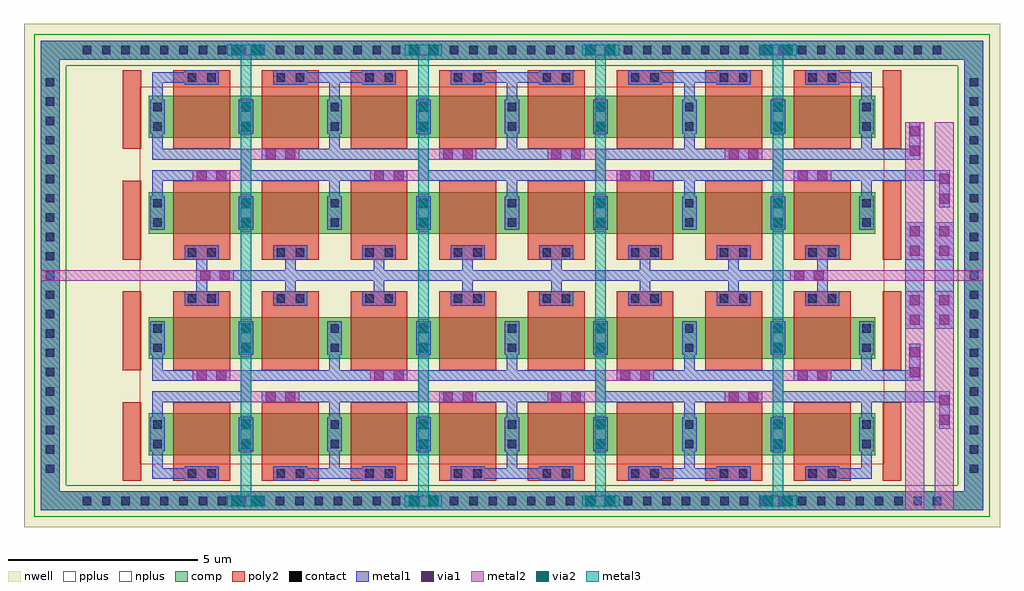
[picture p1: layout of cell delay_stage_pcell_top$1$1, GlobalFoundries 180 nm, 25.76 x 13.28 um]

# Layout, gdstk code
from math import pi, radians
import gdstk
lib = gdstk.Library(unit=1e-6, precision=5e-09)
def R(c, l, rs):  # rectangles x0, y0, x1, y1
    for r in rs: c.add(gdstk.rectangle(r[:2], r[2:], *l))
def A(c, l, x, y, w, h, nx, ny, dx, dy):  # array of equal rectangles
    R(c, l, [(x+i*dx, y+j*dy, x+i*dx+w, y+j*dy+h) for i in range(nx) for j in range(ny)])
nwell = (21, 0)
comp = (22, 0)
poly2 = (30, 0)
pplus = (31, 0)
nplus = (32, 0)
contact = (33, 0)
metal1 = (34, 0)
via1 = (35, 0)
metal2 = (36, 0)
via2 = (38, 0)
metal3 = (42, 0)

m1_m2_3_1_1 = lib.new_cell('M1_M2$3$1$1')
R(m1_m2_3_1_1, via1, [(0.1,0.01,0.36,0.27), (0.62,0.01,0.88,0.27)])
m1_m2_3_1_1.add(gdstk.FlexPath([(0,0.14),(0.98,0.14)], 0.28, ends="flush", simple_path=True, layer=34, datatype=0))  # metal1
m1_m2_3_1_1.add(gdstk.FlexPath([(0,0.14),(0.98,0.14)], 0.28, ends="flush", simple_path=True, layer=36, datatype=0))  # metal2

delay_stage_pcell_1_2_2_ = lib.new_cell('delay_stage_pcell_1$2$2$1$1$1')
R(delay_stage_pcell_1_2_2_, comp, [(0.17,0.3,0.63,1.4), (0.63,0.3,2.51,1.4), (2.51,0.3,2.97,1.4)])
R(delay_stage_pcell_1_2_2_, poly2, [(0.82,0,2.32,1.7)])
R(delay_stage_pcell_1_2_2_, contact, [(0.29,0.485,0.51,0.705), (2.63,0.485,2.85,0.705), (0.29,0.995,0.51,1.215), (2.63,0.995,2.85,1.215)])
R(delay_stage_pcell_1_2_2_, metal1, [(0.21,0.405,0.59,1.295), (2.55,0.405,2.93,1.295)])

delay_stage_pcell_4_2_1_ = lib.new_cell('delay_stage_pcell_4$2$1$1$1')
delay_stage_pcell_4_2_1_.add(gdstk.Reference(delay_stage_pcell_1_2_2_, (-0.17,0)))
delay_stage_pcell_4_2_1_.add(gdstk.Reference(delay_stage_pcell_1_2_2_, (2.17,0)))
delay_stage_pcell_4_2_1_.add(gdstk.Reference(delay_stage_pcell_1_2_2_, (4.51,0)))
delay_stage_pcell_4_2_1_.add(gdstk.Reference(delay_stage_pcell_1_2_2_, (6.85,0)))

delay_stage_pcell_4_4_1_ = lib.new_cell('delay_stage_pcell_4_4$1$1$1')
R(delay_stage_pcell_4_4_1_, poly2, [(0.65,0,2.15,0.38), (0.65,0,2.15,0.38), (2.99,0,4.49,0.38), (2.99,0,4.49,0.38), (5.33,0,6.83,0.38), (5.33,0,6.83,0.38), (7.67,0,9.17,0.38), (7.67,0,9.17,0.38), (0.65,4.62,2.15,5), (0.65,4.62,2.15,5), (2.99,4.62,4.49,5), (2.99,4.62,4.49,5), (5.33,4.62,6.83,5), (5.33,4.62,6.83,5), (7.67,4.62,9.17,5), (7.67,4.62,9.17,5), (0.65,5.84,2.15,6.22), (0.65,5.84,2.15,6.22), (2.99,5.84,4.49,6.22), (2.99,5.84,4.49,6.22), (5.33,5.84,6.83,6.22), (5.33,5.84,6.83,6.22), (7.67,5.84,9.17,6.22), (7.67,5.84,9.17,6.22), (0.65,10.46,2.15,10.84), (0.65,10.46,2.15,10.84), (2.99,10.46,4.49,10.84), (2.99,10.46,4.49,10.84), (5.33,10.46,6.83,10.84), (5.33,10.46,6.83,10.84), (7.67,10.46,9.17,10.84), (7.67,10.46,9.17,10.84)])
R(delay_stage_pcell_4_4_1_, contact, [(1.035,0.08,1.255,0.3), (1.035,0.08,1.255,0.3), (1.545,0.08,1.765,0.3), (1.545,0.08,1.765,0.3), (3.375,0.08,3.595,0.3), (3.375,0.08,3.595,0.3), (3.885,0.08,4.105,0.3), (3.885,0.08,4.105,0.3), (5.715,0.08,5.935,0.3), (5.715,0.08,5.935,0.3), (6.225,0.08,6.445,0.3), (6.225,0.08,6.445,0.3), (8.055,0.08,8.275,0.3), (8.055,0.08,8.275,0.3), (8.565,0.08,8.785,0.3), (8.565,0.08,8.785,0.3), (1.035,4.7,1.255,4.92), (1.035,4.7,1.255,4.92), (1.545,4.7,1.765,4.92), (1.545,4.7,1.765,4.92), (3.375,4.7,3.595,4.92), (3.375,4.7,3.595,4.92), (3.885,4.7,4.105,4.92), (3.885,4.7,4.105,4.92), (5.715,4.7,5.935,4.92), (5.715,4.7,5.935,4.92), (6.225,4.7,6.445,4.92), (6.225,4.7,6.445,4.92), (8.055,4.7,8.275,4.92), (8.055,4.7,8.275,4.92), (8.565,4.7,8.785,4.92), (8.565,4.7,8.785,4.92), (1.035,5.92,1.255,6.14), (1.035,5.92,1.255,6.14), (1.545,5.92,1.765,6.14), (1.545,5.92,1.765,6.14), (3.375,5.92,3.595,6.14), (3.375,5.92,3.595,6.14), (3.885,5.92,4.105,6.14), (3.885,5.92,4.105,6.14), (5.715,5.92,5.935,6.14), (5.715,5.92,5.935,6.14), (6.225,5.92,6.445,6.14), (6.225,5.92,6.445,6.14), (8.055,5.92,8.275,6.14), (8.055,5.92,8.275,6.14), (8.565,5.92,8.785,6.14), (8.565,5.92,8.785,6.14), (1.035,10.54,1.255,10.76), (1.035,10.54,1.255,10.76), (1.545,10.54,1.765,10.76), (1.545,10.54,1.765,10.76), (3.375,10.54,3.595,10.76), (3.375,10.54,3.595,10.76), (3.885,10.54,4.105,10.76), (3.885,10.54,4.105,10.76), (5.715,10.54,5.935,10.76), (5.715,10.54,5.935,10.76), (6.225,10.54,6.445,10.76), (6.225,10.54,6.445,10.76), (8.055,10.54,8.275,10.76), (8.055,10.54,8.275,10.76), (8.565,10.54,8.785,10.76), (8.565,10.54,8.785,10.76)])
R(delay_stage_pcell_4_4_1_, metal1, [(0.955,0,1.845,0.38), (3.295,0,4.185,0.38), (3.295,0,4.185,0.38), (5.635,0,6.525,0.38), (5.635,0,6.525,0.38), (7.975,0,8.865,0.38), (0.955,4.62,1.845,5), (0.955,4.62,1.845,5), (3.295,4.62,4.185,5), (3.295,4.62,4.185,5), (5.635,4.62,6.525,5), (5.635,4.62,6.525,5), (7.975,4.62,8.865,5), (0.955,5.84,1.845,6.22), (0.955,5.84,1.845,6.22), (3.295,5.84,4.185,6.22), (3.295,5.84,4.185,6.22), (5.635,5.84,6.525,6.22), (5.635,5.84,6.525,6.22), (7.975,5.84,8.865,6.22), (7.975,5.84,8.865,6.22), (0.955,10.46,1.845,10.84), (3.295,10.46,4.185,10.84), (3.295,10.46,4.185,10.84), (5.635,10.46,6.525,10.84), (5.635,10.46,6.525,10.84), (7.975,10.46,8.865,10.84)])
R(delay_stage_pcell_4_4_1_, via1, [(2.44,0.84,2.7,1.1), (7.12,0.84,7.38,1.1), (2.44,1.36,2.7,1.62), (7.12,1.36,7.38,1.62), (1.27,2.09,1.53,2.35), (1.27,2.09,1.53,2.35), (1.79,2.09,2.05,2.35), (1.79,2.09,2.05,2.35), (5.95,2.09,6.21,2.35), (5.95,2.09,6.21,2.35), (6.47,2.09,6.73,2.35), (6.47,2.09,6.73,2.35), (3.09,2.65,3.35,2.91), (3.09,2.65,3.35,2.91), (3.61,2.65,3.87,2.91), (3.61,2.65,3.87,2.91), (7.77,2.65,8.03,2.91), (7.77,2.65,8.03,2.91), (8.29,2.65,8.55,2.91), (8.29,2.65,8.55,2.91), (2.44,3.38,2.7,3.64), (7.12,3.38,7.38,3.64), (2.44,3.9,2.7,4.16), (7.12,3.9,7.38,4.16), (2.44,6.68,2.7,6.94), (7.12,6.68,7.38,6.94), (2.44,7.2,2.7,7.46), (7.12,7.2,7.38,7.46), (3.09,7.93,3.35,8.19), (3.09,7.93,3.35,8.19), (3.61,7.93,3.87,8.19), (3.61,7.93,3.87,8.19), (7.77,7.93,8.03,8.19), (7.77,7.93,8.03,8.19), (8.29,7.93,8.55,8.19), (8.29,7.93,8.55,8.19), (1.27,8.49,1.53,8.75), (1.27,8.49,1.53,8.75), (1.79,8.49,2.05,8.75), (1.79,8.49,2.05,8.75), (5.95,8.49,6.21,8.75), (5.95,8.49,6.21,8.75), (6.47,8.49,6.73,8.75), (6.47,8.49,6.73,8.75), (2.44,9.22,2.7,9.48), (7.12,9.22,7.38,9.48), (2.44,9.74,2.7,10), (7.12,9.74,7.38,10)])
R(delay_stage_pcell_4_4_1_, via2, [(2.44,0.84,2.7,1.1), (7.12,0.84,7.38,1.1), (2.44,1.36,2.7,1.62), (7.12,1.36,7.38,1.62), (2.44,3.38,2.7,3.64), (7.12,3.38,7.38,3.64), (2.44,3.9,2.7,4.16), (7.12,3.9,7.38,4.16), (2.44,6.68,2.7,6.94), (7.12,6.68,7.38,6.94), (2.44,7.2,2.7,7.46), (7.12,7.2,7.38,7.46), (2.44,9.22,2.7,9.48), (7.12,9.22,7.38,9.48), (2.44,9.74,2.7,10), (7.12,9.74,7.38,10)])
delay_stage_pcell_4_4_1_.add(gdstk.FlexPath([(8.56,5.42),(0.23,5.42)], 0.28, ends="flush", simple_path=True, layer=34, datatype=0))  # metal1
delay_stage_pcell_4_4_1_.add(gdstk.FlexPath([(4.185,10.65),(5.635,10.65)], 0.28, ends="flush", simple_path=True, layer=34, datatype=0))  # metal1
delay_stage_pcell_4_4_1_.add(gdstk.FlexPath([(4.91,10.055),(4.91,10.51)], 0.28, ends="flush", simple_path=True, layer=34, datatype=0))  # metal1
delay_stage_pcell_4_4_1_.add(gdstk.FlexPath([(0.955,10.65),(0.23,10.65),(0.23,10.055)], 0.28, ends="flush", simple_path=True, layer=34, datatype=0))  # metal1
delay_stage_pcell_4_4_1_.add(gdstk.FlexPath([(8.865,10.65),(9.59,10.65),(9.59,10.055)], 0.28, ends="flush", simple_path=True, layer=34, datatype=0))  # metal1
delay_stage_pcell_4_4_1_.add(gdstk.FlexPath([(4.185,0.19),(5.635,0.19)], 0.28, ends="flush", simple_path=True, layer=34, datatype=0))  # metal1
delay_stage_pcell_4_4_1_.add(gdstk.FlexPath([(4.91,0.785),(4.91,0.33)], 0.28, ends="flush", simple_path=True, layer=34, datatype=0))  # metal1
delay_stage_pcell_4_4_1_.add(gdstk.FlexPath([(0.955,0.19),(0.23,0.19),(0.23,0.785)], 0.28, ends="flush", simple_path=True, layer=34, datatype=0))  # metal1
delay_stage_pcell_4_4_1_.add(gdstk.FlexPath([(8.865,0.19),(9.59,0.19),(9.59,0.785)], 0.28, ends="flush", simple_path=True, layer=34, datatype=0))  # metal1
delay_stage_pcell_4_4_1_.add(gdstk.FlexPath([(9.59,1.675),(9.59,2.22),(8.65,2.22)], 0.28, ends="flush", simple_path=True, layer=34, datatype=0))  # metal1
delay_stage_pcell_4_4_1_.add(gdstk.FlexPath([(9.59,1.675),(9.59,2.22),(8.65,2.22)], 0.28, ends="flush", simple_path=True, layer=34, datatype=0))  # metal1
delay_stage_pcell_4_4_1_.add(gdstk.FlexPath([(4.91,1.675),(4.91,2.08)], 0.28, ends="flush", simple_path=True, layer=34, datatype=0))  # metal1
delay_stage_pcell_4_4_1_.add(gdstk.FlexPath([(4.91,1.675),(4.91,2.08)], 0.28, ends="flush", simple_path=True, layer=34, datatype=0))  # metal1
delay_stage_pcell_4_4_1_.add(gdstk.FlexPath([(0.23,1.675),(0.23,2.22),(1.17,2.22)], 0.28, ends="flush", simple_path=True, layer=34, datatype=0))  # metal1
delay_stage_pcell_4_4_1_.add(gdstk.FlexPath([(0.23,1.675),(0.23,2.22),(1.17,2.22)], 0.28, ends="flush", simple_path=True, layer=34, datatype=0))  # metal1
delay_stage_pcell_4_4_1_.add(gdstk.FlexPath([(8.65,2.22),(7.25,2.22),(7.25,2.78),(5.85,2.78)], 0.28, ends="flush", simple_path=True, layer=34, datatype=0))  # metal1
delay_stage_pcell_4_4_1_.add(gdstk.FlexPath([(8.65,2.22),(7.25,2.22),(7.25,2.78),(5.85,2.78)], 0.28, ends="flush", simple_path=True, layer=34, datatype=0))  # metal1
delay_stage_pcell_4_4_1_.add(gdstk.FlexPath([(6.83,2.22),(5.85,2.22)], 0.28, ends="flush", simple_path=True, layer=34, datatype=0))  # metal1
delay_stage_pcell_4_4_1_.add(gdstk.FlexPath([(6.83,2.22),(5.85,2.22)], 0.28, ends="flush", simple_path=True, layer=34, datatype=0))  # metal1
delay_stage_pcell_4_4_1_.add(gdstk.FlexPath([(3.97,2.22),(5.85,2.22)], 0.28, ends="flush", simple_path=True, layer=34, datatype=0))  # metal1
delay_stage_pcell_4_4_1_.add(gdstk.FlexPath([(3.97,2.22),(5.85,2.22)], 0.28, ends="flush", simple_path=True, layer=34, datatype=0))  # metal1
delay_stage_pcell_4_4_1_.add(gdstk.FlexPath([(3.97,2.22),(2.57,2.22),(2.57,2.78),(1.17,2.78)], 0.28, ends="flush", simple_path=True, layer=34, datatype=0))  # metal1
delay_stage_pcell_4_4_1_.add(gdstk.FlexPath([(3.97,2.22),(2.57,2.22),(2.57,2.78),(1.17,2.78)], 0.28, ends="flush", simple_path=True, layer=34, datatype=0))  # metal1
delay_stage_pcell_4_4_1_.add(gdstk.FlexPath([(2.15,2.22),(1.17,2.22)], 0.28, ends="flush", simple_path=True, layer=34, datatype=0))  # metal1
delay_stage_pcell_4_4_1_.add(gdstk.FlexPath([(2.15,2.22),(1.17,2.22)], 0.28, ends="flush", simple_path=True, layer=34, datatype=0))  # metal1
delay_stage_pcell_4_4_1_.add(gdstk.FlexPath([(8.65,2.78),(7.67,2.78)], 0.28, ends="flush", simple_path=True, layer=34, datatype=0))  # metal1
delay_stage_pcell_4_4_1_.add(gdstk.FlexPath([(8.65,2.78),(7.67,2.78)], 0.28, ends="flush", simple_path=True, layer=34, datatype=0))  # metal1
delay_stage_pcell_4_4_1_.add(gdstk.FlexPath([(3.97,2.78),(5.85,2.78)], 0.28, ends="flush", simple_path=True, layer=34, datatype=0))  # metal1
delay_stage_pcell_4_4_1_.add(gdstk.FlexPath([(3.97,2.78),(5.85,2.78)], 0.28, ends="flush", simple_path=True, layer=34, datatype=0))  # metal1
delay_stage_pcell_4_4_1_.add(gdstk.FlexPath([(3.97,2.78),(2.99,2.78)], 0.28, ends="flush", simple_path=True, layer=34, datatype=0))  # metal1
delay_stage_pcell_4_4_1_.add(gdstk.FlexPath([(3.97,2.78),(2.99,2.78)], 0.28, ends="flush", simple_path=True, layer=34, datatype=0))  # metal1
delay_stage_pcell_4_4_1_.add(gdstk.FlexPath([(1.17,2.78),(0.23,2.78),(0.23,3.325)], 0.28, ends="flush", simple_path=True, layer=34, datatype=0))  # metal1
delay_stage_pcell_4_4_1_.add(gdstk.FlexPath([(1.17,2.78),(0.23,2.78),(0.23,3.325)], 0.28, ends="flush", simple_path=True, layer=34, datatype=0))  # metal1
delay_stage_pcell_4_4_1_.add(gdstk.FlexPath([(9.59,3.325),(9.59,2.78),(8.65,2.78)], 0.28, ends="flush", simple_path=True, layer=34, datatype=0))  # metal1
delay_stage_pcell_4_4_1_.add(gdstk.FlexPath([(9.59,3.325),(9.59,2.78),(8.65,2.78)], 0.28, ends="flush", simple_path=True, layer=34, datatype=0))  # metal1
delay_stage_pcell_4_4_1_.add(gdstk.FlexPath([(4.91,3.325),(4.91,2.92)], 0.28, ends="flush", simple_path=True, layer=34, datatype=0))  # metal1
delay_stage_pcell_4_4_1_.add(gdstk.FlexPath([(4.91,3.325),(4.91,2.92)], 0.28, ends="flush", simple_path=True, layer=34, datatype=0))  # metal1
delay_stage_pcell_4_4_1_.add(gdstk.FlexPath([(9.59,7.515),(9.59,8.06),(8.65,8.06)], 0.28, ends="flush", simple_path=True, layer=34, datatype=0))  # metal1
delay_stage_pcell_4_4_1_.add(gdstk.FlexPath([(9.59,9.165),(9.59,8.62),(8.65,8.62)], 0.28, ends="flush", simple_path=True, layer=34, datatype=0))  # metal1
delay_stage_pcell_4_4_1_.add(gdstk.FlexPath([(4.91,9.165),(4.91,8.76)], 0.28, ends="flush", simple_path=True, layer=34, datatype=0))  # metal1
delay_stage_pcell_4_4_1_.add(gdstk.FlexPath([(4.91,7.515),(4.91,7.92)], 0.28, ends="flush", simple_path=True, layer=34, datatype=0))  # metal1
delay_stage_pcell_4_4_1_.add(gdstk.FlexPath([(1.17,8.06),(0.23,8.06),(0.23,7.515)], 0.28, ends="flush", simple_path=True, layer=34, datatype=0))  # metal1
delay_stage_pcell_4_4_1_.add(gdstk.FlexPath([(0.23,9.165),(0.23,8.62),(1.17,8.62)], 0.28, ends="flush", simple_path=True, layer=34, datatype=0))  # metal1
delay_stage_pcell_4_4_1_.add(gdstk.FlexPath([(8.65,8.62),(7.25,8.62),(7.25,8.06),(5.85,8.06)], 0.28, ends="flush", simple_path=True, layer=34, datatype=0))  # metal1
delay_stage_pcell_4_4_1_.add(gdstk.FlexPath([(3.97,8.62),(2.57,8.62),(2.57,8.06),(1.17,8.06)], 0.28, ends="flush", simple_path=True, layer=34, datatype=0))  # metal1
delay_stage_pcell_4_4_1_.add(gdstk.FlexPath([(2.15,8.62),(1.17,8.62)], 0.28, ends="flush", simple_path=True, layer=34, datatype=0))  # metal1
delay_stage_pcell_4_4_1_.add(gdstk.FlexPath([(3.97,8.06),(2.99,8.06)], 0.28, ends="flush", simple_path=True, layer=34, datatype=0))  # metal1
delay_stage_pcell_4_4_1_.add(gdstk.FlexPath([(8.65,8.06),(7.67,8.06)], 0.28, ends="flush", simple_path=True, layer=34, datatype=0))  # metal1
delay_stage_pcell_4_4_1_.add(gdstk.FlexPath([(6.83,8.62),(5.85,8.62)], 0.28, ends="flush", simple_path=True, layer=34, datatype=0))  # metal1
delay_stage_pcell_4_4_1_.add(gdstk.FlexPath([(3.97,8.62),(5.85,8.62)], 0.28, ends="flush", simple_path=True, layer=34, datatype=0))  # metal1
delay_stage_pcell_4_4_1_.add(gdstk.FlexPath([(3.97,8.06),(5.85,8.06)], 0.28, ends="flush", simple_path=True, layer=34, datatype=0))  # metal1
delay_stage_pcell_4_4_1_.add(gdstk.FlexPath([(3.97,8.06),(5.85,8.06)], 0.28, ends="flush", simple_path=True, layer=34, datatype=0))  # metal1
delay_stage_pcell_4_4_1_.add(gdstk.FlexPath([(3.97,8.62),(5.85,8.62)], 0.28, ends="flush", simple_path=True, layer=34, datatype=0))  # metal1
delay_stage_pcell_4_4_1_.add(gdstk.FlexPath([(6.83,8.62),(5.85,8.62)], 0.28, ends="flush", simple_path=True, layer=34, datatype=0))  # metal1
delay_stage_pcell_4_4_1_.add(gdstk.FlexPath([(8.65,8.06),(7.67,8.06)], 0.28, ends="flush", simple_path=True, layer=34, datatype=0))  # metal1
delay_stage_pcell_4_4_1_.add(gdstk.FlexPath([(3.97,8.06),(2.99,8.06)], 0.28, ends="flush", simple_path=True, layer=34, datatype=0))  # metal1
delay_stage_pcell_4_4_1_.add(gdstk.FlexPath([(2.15,8.62),(1.17,8.62)], 0.28, ends="flush", simple_path=True, layer=34, datatype=0))  # metal1
delay_stage_pcell_4_4_1_.add(gdstk.FlexPath([(3.97,8.62),(2.57,8.62),(2.57,8.06),(1.17,8.06)], 0.28, ends="flush", simple_path=True, layer=34, datatype=0))  # metal1
delay_stage_pcell_4_4_1_.add(gdstk.FlexPath([(8.65,8.62),(7.25,8.62),(7.25,8.06),(5.85,8.06)], 0.28, ends="flush", simple_path=True, layer=34, datatype=0))  # metal1
delay_stage_pcell_4_4_1_.add(gdstk.FlexPath([(0.23,9.165),(0.23,8.62),(1.17,8.62)], 0.28, ends="flush", simple_path=True, layer=34, datatype=0))  # metal1
delay_stage_pcell_4_4_1_.add(gdstk.FlexPath([(1.17,8.06),(0.23,8.06),(0.23,7.515)], 0.28, ends="flush", simple_path=True, layer=34, datatype=0))  # metal1
delay_stage_pcell_4_4_1_.add(gdstk.FlexPath([(4.91,7.515),(4.91,7.92)], 0.28, ends="flush", simple_path=True, layer=34, datatype=0))  # metal1
delay_stage_pcell_4_4_1_.add(gdstk.FlexPath([(4.91,9.165),(4.91,8.76)], 0.28, ends="flush", simple_path=True, layer=34, datatype=0))  # metal1
delay_stage_pcell_4_4_1_.add(gdstk.FlexPath([(9.59,9.165),(9.59,8.62),(8.65,8.62)], 0.28, ends="flush", simple_path=True, layer=34, datatype=0))  # metal1
delay_stage_pcell_4_4_1_.add(gdstk.FlexPath([(9.59,7.515),(9.59,8.06),(8.65,8.06)], 0.28, ends="flush", simple_path=True, layer=34, datatype=0))  # metal1
delay_stage_pcell_4_4_1_.add(gdstk.FlexPath([(8.42,5),(8.42,5.28)], 0.28, ends="flush", simple_path=True, layer=34, datatype=0))  # metal1
delay_stage_pcell_4_4_1_.add(gdstk.FlexPath([(8.42,5.84),(8.42,5.56)], 0.28, ends="flush", simple_path=True, layer=34, datatype=0))  # metal1
delay_stage_pcell_4_4_1_.add(gdstk.FlexPath([(6.08,5),(6.08,5.28)], 0.28, ends="flush", simple_path=True, layer=34, datatype=0))  # metal1
delay_stage_pcell_4_4_1_.add(gdstk.FlexPath([(6.08,5.84),(6.08,5.56)], 0.28, ends="flush", simple_path=True, layer=34, datatype=0))  # metal1
delay_stage_pcell_4_4_1_.add(gdstk.FlexPath([(3.74,5),(3.74,5.28)], 0.28, ends="flush", simple_path=True, layer=34, datatype=0))  # metal1
delay_stage_pcell_4_4_1_.add(gdstk.FlexPath([(3.74,5.84),(3.74,5.56)], 0.28, ends="flush", simple_path=True, layer=34, datatype=0))  # metal1
delay_stage_pcell_4_4_1_.add(gdstk.FlexPath([(1.4,5),(1.4,5.28)], 0.28, ends="flush", simple_path=True, layer=34, datatype=0))  # metal1
delay_stage_pcell_4_4_1_.add(gdstk.FlexPath([(1.4,5.84),(1.4,5.56)], 0.28, ends="flush", simple_path=True, layer=34, datatype=0))  # metal1
delay_stage_pcell_4_4_1_.add(gdstk.FlexPath([(8.65,2.78),(7.25,2.78),(7.25,2.22),(5.85,2.22)], 0.28, ends="flush", simple_path=True, layer=36, datatype=0))  # metal2
delay_stage_pcell_4_4_1_.add(gdstk.FlexPath([(8.65,2.78),(7.25,2.78),(7.25,2.22),(5.85,2.22)], 0.28, ends="flush", simple_path=True, layer=36, datatype=0))  # metal2
delay_stage_pcell_4_4_1_.add(gdstk.FlexPath([(3.97,2.78),(2.57,2.78),(2.57,2.22),(1.17,2.22)], 0.28, ends="flush", simple_path=True, layer=36, datatype=0))  # metal2
delay_stage_pcell_4_4_1_.add(gdstk.FlexPath([(3.97,2.78),(2.57,2.78),(2.57,2.22),(1.17,2.22)], 0.28, ends="flush", simple_path=True, layer=36, datatype=0))  # metal2
delay_stage_pcell_4_4_1_.add(gdstk.FlexPath([(3.97,8.06),(2.57,8.06),(2.57,8.62),(1.17,8.62)], 0.28, ends="flush", simple_path=True, layer=36, datatype=0))  # metal2
delay_stage_pcell_4_4_1_.add(gdstk.FlexPath([(8.65,8.06),(7.25,8.06),(7.25,8.62),(5.85,8.62)], 0.28, ends="flush", simple_path=True, layer=36, datatype=0))  # metal2
delay_stage_pcell_4_4_1_.add(gdstk.FlexPath([(8.65,8.06),(7.25,8.06),(7.25,8.62),(5.85,8.62)], 0.28, ends="flush", simple_path=True, layer=36, datatype=0))  # metal2
delay_stage_pcell_4_4_1_.add(gdstk.FlexPath([(3.97,8.06),(2.57,8.06),(2.57,8.62),(1.17,8.62)], 0.28, ends="flush", simple_path=True, layer=36, datatype=0))  # metal2
delay_stage_pcell_4_4_1_.add(gdstk.FlexPath([(7.25,6.58),(7.25,7.56)], 0.28, ends="flush", simple_path=True, layer=36, datatype=0))  # metal2
delay_stage_pcell_4_4_1_.add(gdstk.FlexPath([(7.25,9.12),(7.25,10.1)], 0.28, ends="flush", simple_path=True, layer=36, datatype=0))  # metal2
delay_stage_pcell_4_4_1_.add(gdstk.FlexPath([(2.57,6.58),(2.57,7.56)], 0.28, ends="flush", simple_path=True, layer=36, datatype=0))  # metal2
delay_stage_pcell_4_4_1_.add(gdstk.FlexPath([(7.25,3.28),(7.25,4.26)], 0.28, ends="flush", simple_path=True, layer=36, datatype=0))  # metal2
delay_stage_pcell_4_4_1_.add(gdstk.FlexPath([(2.57,3.28),(2.57,4.26)], 0.28, ends="flush", simple_path=True, layer=36, datatype=0))  # metal2
delay_stage_pcell_4_4_1_.add(gdstk.FlexPath([(7.25,0.74),(7.25,1.72)], 0.28, ends="flush", simple_path=True, layer=36, datatype=0))  # metal2
delay_stage_pcell_4_4_1_.add(gdstk.FlexPath([(2.57,0.74),(2.57,1.72)], 0.28, ends="flush", simple_path=True, layer=36, datatype=0))  # metal2
delay_stage_pcell_4_4_1_.add(gdstk.FlexPath([(2.57,9.12),(2.57,10.1)], 0.28, ends="flush", simple_path=True, layer=36, datatype=0))  # metal2
delay_stage_pcell_4_4_1_.add(gdstk.FlexPath([(7.25,6.58),(7.25,7.56)], 0.28, ends="flush", simple_path=True, layer=42, datatype=0))  # metal3
delay_stage_pcell_4_4_1_.add(gdstk.FlexPath([(7.25,9.12),(7.25,10.1)], 0.28, ends="flush", simple_path=True, layer=42, datatype=0))  # metal3
delay_stage_pcell_4_4_1_.add(gdstk.FlexPath([(2.57,6.58),(2.57,7.56)], 0.28, ends="flush", simple_path=True, layer=42, datatype=0))  # metal3
delay_stage_pcell_4_4_1_.add(gdstk.FlexPath([(7.25,3.28),(7.25,4.26)], 0.28, ends="flush", simple_path=True, layer=42, datatype=0))  # metal3
delay_stage_pcell_4_4_1_.add(gdstk.FlexPath([(2.57,3.28),(2.57,4.26)], 0.28, ends="flush", simple_path=True, layer=42, datatype=0))  # metal3
delay_stage_pcell_4_4_1_.add(gdstk.FlexPath([(7.25,0.74),(7.25,1.72)], 0.28, ends="flush", simple_path=True, layer=42, datatype=0))  # metal3
delay_stage_pcell_4_4_1_.add(gdstk.FlexPath([(2.57,0.74),(2.57,1.72)], 0.28, ends="flush", simple_path=True, layer=42, datatype=0))  # metal3
delay_stage_pcell_4_4_1_.add(gdstk.FlexPath([(2.57,9.12),(2.57,10.1)], 0.28, ends="flush", simple_path=True, layer=42, datatype=0))  # metal3
delay_stage_pcell_4_4_1_.add(gdstk.Reference(delay_stage_pcell_4_2_1_, (9.82,7.92), rotation=pi))
delay_stage_pcell_4_4_1_.add(gdstk.Reference(delay_stage_pcell_4_2_1_, (9.82,2.08), rotation=pi))
delay_stage_pcell_4_4_1_.add(gdstk.Reference(delay_stage_pcell_4_2_1_, (9.82,8.76), rotation=pi, x_reflection=True))
delay_stage_pcell_4_4_1_.add(gdstk.Reference(delay_stage_pcell_4_2_1_, (9.82,2.92), rotation=pi, x_reflection=True))

delay_stage_pcell_top_1_ = lib.new_cell('delay_stage_pcell_top$1$1')
R(delay_stage_pcell_top_1_, nwell, [(0,0,25.76,13.28)])
A(delay_stage_pcell_top_1_, poly2, 2.6, 1.22, 0.5, 2.08, 1, 4, 0, 2.92)
A(delay_stage_pcell_top_1_, poly2, 22.66, 1.22, 0.5, 2.08, 1, 4, 0, 2.92)
R(delay_stage_pcell_top_1_, pplus, [(3.05,1.66,22.71,11.62)])
A(delay_stage_pcell_top_1_, contact, 1.55, 0.58, 0.22, 0.22, 45, 2, 0.51, 11.9)
A(delay_stage_pcell_top_1_, contact, 0.58, 1.43, 0.22, 0.22, 1, 21, 0, 0.51)
A(delay_stage_pcell_top_1_, contact, 24.96, 1.43, 0.22, 0.22, 1, 21, 0, 0.51)
R(delay_stage_pcell_top_1_, via1, [(5.47,0.56,5.73,0.82), (5.99,0.56,6.25,0.82), (10.15,0.56,10.41,0.82), (10.67,0.56,10.93,0.82), (14.83,0.56,15.09,0.82), (15.35,0.56,15.61,0.82), (19.51,0.56,19.77,0.82), (20.03,0.56,20.29,0.82), (24.16,2.7,24.42,2.96), (24.16,2.7,24.42,2.96), (24.16,3.22,24.42,3.48), (24.16,3.22,24.42,3.48), (23.38,3.96,23.64,4.22), (23.38,3.96,23.64,4.22), (23.38,4.48,23.64,4.74), (23.38,4.48,23.64,4.74), (23.38,5.34,23.64,5.6), (23.38,5.34,23.64,5.6), (24.16,5.34,24.42,5.6), (24.16,5.34,24.42,5.6), (23.38,5.86,23.64,6.12), (23.38,5.86,23.64,6.12), (24.16,5.86,24.42,6.12), (24.16,5.86,24.42,6.12), (23.38,7.16,23.64,7.42), (23.38,7.16,23.64,7.42), (24.16,7.16,24.42,7.42), (24.16,7.16,24.42,7.42), (23.38,7.68,23.64,7.94), (23.38,7.68,23.64,7.94), (24.16,7.68,24.42,7.94), (24.16,7.68,24.42,7.94), (24.16,8.54,24.42,8.8), (24.16,8.54,24.42,8.8), (24.16,9.06,24.42,9.32), (24.16,9.06,24.42,9.32), (5.47,12.46,5.73,12.72), (5.99,12.46,6.25,12.72), (10.15,12.46,10.41,12.72), (10.67,12.46,10.93,12.72), (14.83,12.46,15.09,12.72), (15.35,12.46,15.61,12.72), (19.51,12.46,19.77,12.72), (20.03,12.46,20.29,12.72)])
R(delay_stage_pcell_top_1_, via2, [(5.47,0.56,5.73,0.82), (5.99,0.56,6.25,0.82), (10.15,0.56,10.41,0.82), (10.67,0.56,10.93,0.82), (14.83,0.56,15.09,0.82), (15.35,0.56,15.61,0.82), (19.51,0.56,19.77,0.82), (20.03,0.56,20.29,0.82), (5.47,12.46,5.73,12.72), (5.99,12.46,6.25,12.72), (10.15,12.46,10.41,12.72), (10.67,12.46,10.93,12.72), (14.83,12.46,15.09,12.72), (15.35,12.46,15.61,12.72), (19.51,12.46,19.77,12.72), (20.03,12.46,20.29,12.72)])
delay_stage_pcell_top_1_.add(gdstk.FlexPath([(24.29,2.6),(24.29,3.58)], 0.28, ends="flush", simple_path=True, layer=34, datatype=0))  # metal1
delay_stage_pcell_top_1_.add(gdstk.FlexPath([(24.29,2.6),(24.29,3.58)], 0.28, ends="flush", simple_path=True, layer=34, datatype=0))  # metal1
delay_stage_pcell_top_1_.add(gdstk.FlexPath([(24.29,5.24),(24.29,8.04)], 0.5, ends="flush", simple_path=True, layer=34, datatype=0))  # metal1
delay_stage_pcell_top_1_.add(gdstk.FlexPath([(23.51,3.86),(23.51,4.84)], 0.28, ends="flush", simple_path=True, layer=34, datatype=0))  # metal1
delay_stage_pcell_top_1_.add(gdstk.FlexPath([(23.51,3.86),(23.51,4.84)], 0.28, ends="flush", simple_path=True, layer=34, datatype=0))  # metal1
delay_stage_pcell_top_1_.add(gdstk.FlexPath([(24.29,8.44),(24.29,9.42)], 0.28, ends="flush", simple_path=True, layer=34, datatype=0))  # metal1
delay_stage_pcell_top_1_.add(gdstk.FlexPath([(24.29,8.44),(24.29,9.42)], 0.28, ends="flush", simple_path=True, layer=34, datatype=0))  # metal1
delay_stage_pcell_top_1_.add(gdstk.FlexPath([(23.51,5.24),(23.51,6.22)], 0.28, ends="flush", simple_path=True, layer=34, datatype=0))  # metal1
delay_stage_pcell_top_1_.add(gdstk.FlexPath([(23.51,5.24),(23.51,6.22)], 0.28, ends="flush", simple_path=True, layer=34, datatype=0))  # metal1
delay_stage_pcell_top_1_.add(gdstk.FlexPath([(24.29,5.24),(24.29,6.22)], 0.28, ends="flush", simple_path=True, layer=34, datatype=0))  # metal1
delay_stage_pcell_top_1_.add(gdstk.FlexPath([(24.29,5.24),(24.29,6.22)], 0.28, ends="flush", simple_path=True, layer=34, datatype=0))  # metal1
delay_stage_pcell_top_1_.add(gdstk.FlexPath([(23.51,5.24),(23.51,8.04)], 0.5, ends="flush", simple_path=True, layer=34, datatype=0))  # metal1
delay_stage_pcell_top_1_.add(gdstk.FlexPath([(23.51,7.06),(23.51,8.04)], 0.28, ends="flush", simple_path=True, layer=34, datatype=0))  # metal1
delay_stage_pcell_top_1_.add(gdstk.FlexPath([(23.51,7.06),(23.51,8.04)], 0.28, ends="flush", simple_path=True, layer=34, datatype=0))  # metal1
delay_stage_pcell_top_1_.add(gdstk.FlexPath([(24.29,7.06),(24.29,8.04)], 0.28, ends="flush", simple_path=True, layer=34, datatype=0))  # metal1
delay_stage_pcell_top_1_.add(gdstk.FlexPath([(24.29,7.06),(24.29,8.04)], 0.28, ends="flush", simple_path=True, layer=34, datatype=0))  # metal1
delay_stage_pcell_top_1_.add(gdstk.FlexPath([(22.38,9.84),(23.37,9.84)], 0.28, ends="flush", simple_path=True, layer=34, datatype=0))  # metal1
delay_stage_pcell_top_1_.add(gdstk.FlexPath([(22.38,9.28),(24.15,9.28)], 0.28, ends="flush", simple_path=True, layer=34, datatype=0))  # metal1
delay_stage_pcell_top_1_.add(gdstk.FlexPath([(22.38,4),(23.37,4)], 0.28, ends="flush", simple_path=True, layer=34, datatype=0))  # metal1
delay_stage_pcell_top_1_.add(gdstk.FlexPath([(22.38,3.44),(24.15,3.44)], 0.28, ends="flush", simple_path=True, layer=34, datatype=0))  # metal1
delay_stage_pcell_top_1_.add(gdstk.FlexPath([(25.07,12.84),(25.07,0.69),(0.69,0.69),(0.69,12.59),(25.32,12.59)], 0.5, ends="flush", simple_path=True, layer=34, datatype=0))  # metal1
delay_stage_pcell_top_1_.add(gdstk.FlexPath([(25.07,12.84),(25.07,0.69),(0.69,0.69),(0.69,12.59),(25.32,12.59)], 0.5, ends="flush", simple_path=True, layer=22, datatype=0))  # comp
delay_stage_pcell_top_1_.add(gdstk.FlexPath([(23.51,7.06),(23.51,10.68)], 0.5, ends="flush", simple_path=True, layer=36, datatype=0))  # metal2
delay_stage_pcell_top_1_.add(gdstk.FlexPath([(23.51,0.44),(23.51,6.22)], 0.5, ends="flush", simple_path=True, layer=36, datatype=0))  # metal2
delay_stage_pcell_top_1_.add(gdstk.FlexPath([(24.29,7.06),(24.29,10.68)], 0.5, ends="flush", simple_path=True, layer=36, datatype=0))  # metal2
delay_stage_pcell_top_1_.add(gdstk.FlexPath([(24.29,0.44),(24.29,6.22)], 0.5, ends="flush", simple_path=True, layer=36, datatype=0))  # metal2
delay_stage_pcell_top_1_.add(gdstk.FlexPath([(21.21,6.64),(25.32,6.64)], 0.28, ends="flush", simple_path=True, layer=36, datatype=0))  # metal2
delay_stage_pcell_top_1_.add(gdstk.FlexPath([(4.55,6.64),(0.44,6.64)], 0.28, ends="flush", simple_path=True, layer=36, datatype=0))  # metal2
delay_stage_pcell_top_1_.add(gdstk.FlexPath([(19.41,0.69),(20.39,0.69)], 0.28, ends="flush", simple_path=True, layer=36, datatype=0))  # metal2
delay_stage_pcell_top_1_.add(gdstk.FlexPath([(19.41,12.59),(20.39,12.59)], 0.28, ends="flush", simple_path=True, layer=36, datatype=0))  # metal2
delay_stage_pcell_top_1_.add(gdstk.FlexPath([(14.73,0.69),(15.71,0.69)], 0.28, ends="flush", simple_path=True, layer=36, datatype=0))  # metal2
delay_stage_pcell_top_1_.add(gdstk.FlexPath([(14.73,12.59),(15.71,12.59)], 0.28, ends="flush", simple_path=True, layer=36, datatype=0))  # metal2
delay_stage_pcell_top_1_.add(gdstk.FlexPath([(10.05,0.69),(11.03,0.69)], 0.28, ends="flush", simple_path=True, layer=36, datatype=0))  # metal2
delay_stage_pcell_top_1_.add(gdstk.FlexPath([(10.05,12.59),(11.03,12.59)], 0.28, ends="flush", simple_path=True, layer=36, datatype=0))  # metal2
delay_stage_pcell_top_1_.add(gdstk.FlexPath([(5.37,0.69),(6.35,0.69)], 0.28, ends="flush", simple_path=True, layer=36, datatype=0))  # metal2
delay_stage_pcell_top_1_.add(gdstk.FlexPath([(5.37,12.59),(6.35,12.59)], 0.28, ends="flush", simple_path=True, layer=36, datatype=0))  # metal2
delay_stage_pcell_top_1_.add(gdstk.FlexPath([(19.9,12.45),(19.9,0.83)], 0.28, ends="flush", simple_path=True, layer=42, datatype=0))  # metal3
delay_stage_pcell_top_1_.add(gdstk.FlexPath([(19.41,0.69),(20.39,0.69)], 0.28, ends="flush", simple_path=True, layer=42, datatype=0))  # metal3
delay_stage_pcell_top_1_.add(gdstk.FlexPath([(19.41,12.59),(20.39,12.59)], 0.28, ends="flush", simple_path=True, layer=42, datatype=0))  # metal3
delay_stage_pcell_top_1_.add(gdstk.FlexPath([(15.22,12.45),(15.22,0.83)], 0.28, ends="flush", simple_path=True, layer=42, datatype=0))  # metal3
delay_stage_pcell_top_1_.add(gdstk.FlexPath([(14.73,0.69),(15.71,0.69)], 0.28, ends="flush", simple_path=True, layer=42, datatype=0))  # metal3
delay_stage_pcell_top_1_.add(gdstk.FlexPath([(14.73,12.59),(15.71,12.59)], 0.28, ends="flush", simple_path=True, layer=42, datatype=0))  # metal3
delay_stage_pcell_top_1_.add(gdstk.FlexPath([(10.54,12.45),(10.54,0.83)], 0.28, ends="flush", simple_path=True, layer=42, datatype=0))  # metal3
delay_stage_pcell_top_1_.add(gdstk.FlexPath([(10.05,0.69),(11.03,0.69)], 0.28, ends="flush", simple_path=True, layer=42, datatype=0))  # metal3
delay_stage_pcell_top_1_.add(gdstk.FlexPath([(10.05,12.59),(11.03,12.59)], 0.28, ends="flush", simple_path=True, layer=42, datatype=0))  # metal3
delay_stage_pcell_top_1_.add(gdstk.FlexPath([(5.86,12.45),(5.86,0.83)], 0.28, ends="flush", simple_path=True, layer=42, datatype=0))  # metal3
delay_stage_pcell_top_1_.add(gdstk.FlexPath([(5.37,0.69),(6.35,0.69)], 0.28, ends="flush", simple_path=True, layer=42, datatype=0))  # metal3
delay_stage_pcell_top_1_.add(gdstk.FlexPath([(5.37,12.59),(6.35,12.59)], 0.28, ends="flush", simple_path=True, layer=42, datatype=0))  # metal3
delay_stage_pcell_top_1_.add(gdstk.FlexPath([(25.07,13.01),(25.07,0.69),(0.69,0.69),(0.69,12.59),(25.49,12.59)], 0.84, ends="flush", simple_path=True, layer=32, datatype=0))  # nplus
delay_stage_pcell_top_1_.add(gdstk.Reference(m1_m2_3_1_1, (4.55,6.5)))
delay_stage_pcell_top_1_.add(gdstk.Reference(m1_m2_3_1_1, (23.37,10.68), rotation=3*pi/2))
delay_stage_pcell_top_1_.add(gdstk.Reference(m1_m2_3_1_1, (21.21,6.5), rotation=pi, x_reflection=True))
delay_stage_pcell_top_1_.add(gdstk.Reference(delay_stage_pcell_4_4_1_, (12.65,1.22)))
delay_stage_pcell_top_1_.add(gdstk.Reference(delay_stage_pcell_4_4_1_, (13.11,1.22), rotation=pi, x_reflection=True))

lib.write_gds('delay_stage_pcell_top_1_1.gds')
